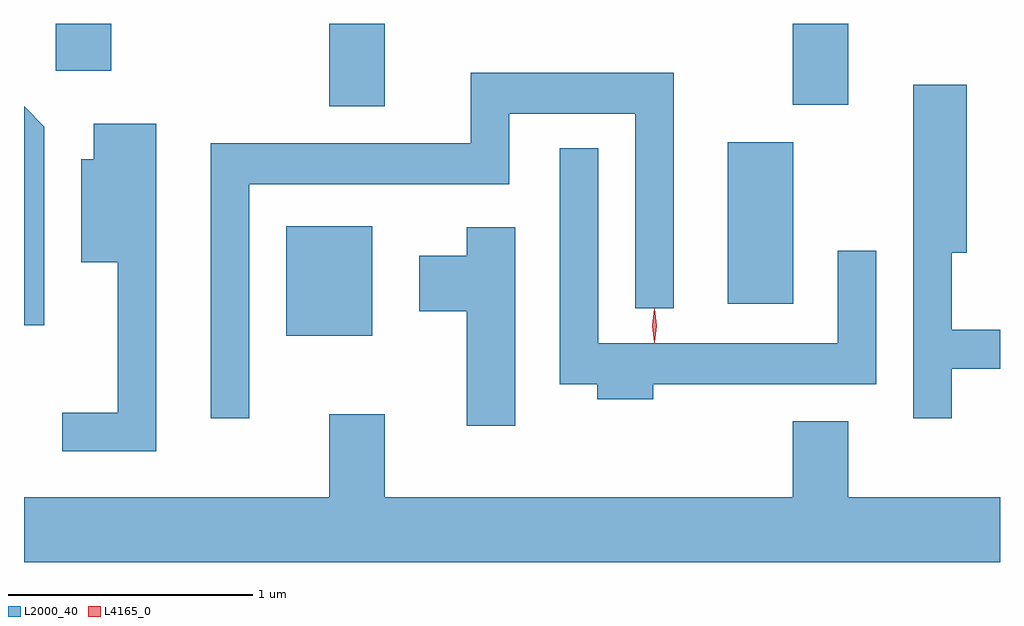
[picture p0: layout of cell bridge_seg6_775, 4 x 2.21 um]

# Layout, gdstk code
import gdstk
lib = gdstk.Library(unit=1e-6, precision=1e-09)
def R(c, l, rs):  # rectangles x0, y0, x1, y1
    for r in rs: c.add(gdstk.rectangle(r[:2], r[2:], *l))
def P(c, l, *ps):  # polygons
    for p in ps: c.add(gdstk.Polygon(p, *l))
L2000_40 = (2000, 40)
L4165_0 = (4165, 0)

bridge_seg6_775 = lib.new_cell('bridge_seg6_775')
R(bridge_seg6_775, L2000_40, [(524.616,1544.306,524.969,1544.754), (526.426,1544.436,526.694,1545.099), (524.791,1545.246,525.019,1545.585), (526.691,1545.251,526.919,1545.585), (523.671,1545.391,523.899,1545.585)])
P(bridge_seg6_775, L2000_40, [(524.464,1544.926),(525.529,1544.926),(525.529,1545.216),(526.046,1545.216),(526.046,1544.418),(526.204,1544.418),(526.204,1545.384),(525.371,1545.384),(525.371,1545.094),(524.306,1545.094),(524.306,1543.968),(524.464,1543.968)],
  [(527.344,1544.171),(527.541,1544.171),(527.541,1544.329),(527.344,1544.329),(527.344,1544.646),(527.404,1544.646),(527.404,1545.334),(527.186,1545.334),(527.186,1543.968),(527.344,1543.968)],
  [(523.624,1545.162),(523.541,1545.245),(523.541,1544.348),(523.624,1544.348)],
  [(524.084,1545.174),(523.826,1545.174),(523.826,1545.029),(523.776,1545.029),(523.776,1544.606),(523.926,1544.606),(523.926,1543.989),(523.698,1543.989),(523.698,1543.831),(524.084,1543.831)],
  [(526.119,1544.106),(527.034,1544.106),(527.034,1544.653),(526.876,1544.653),(526.876,1544.274),(525.894,1544.274),(525.894,1545.073),(525.736,1545.073),(525.736,1544.106),(525.891,1544.106),(525.891,1544.046),(526.119,1544.046)],
  [(525.554,1544.749),(525.356,1544.749),(525.356,1544.634),(525.161,1544.634),(525.161,1544.406),(525.356,1544.406),(525.356,1543.936),(525.554,1543.936)],
  [(527.541,1543.644),(526.919,1543.644),(526.919,1543.954),(526.691,1543.954),(526.691,1543.644),(525.019,1543.644),(525.019,1543.984),(524.791,1543.984),(524.791,1543.644),(523.541,1543.644),(523.541,1543.376),(527.541,1543.376)])
P(bridge_seg6_775, L4165_0, [(526.125,1544.279),(526.124,1544.28),(526.115,1544.346),(526.124,1544.412),(526.125,1544.413),(526.125,1544.412),(526.135,1544.346),(526.125,1544.28)],
  [(526.125,1544.277),(526.125,1544.278),(526.115,1544.347),(526.125,1544.416),(526.125,1544.416),(526.126,1544.416),(526.135,1544.347),(526.126,1544.278)])

lib.write_gds('bridge_seg6_775.gds')
